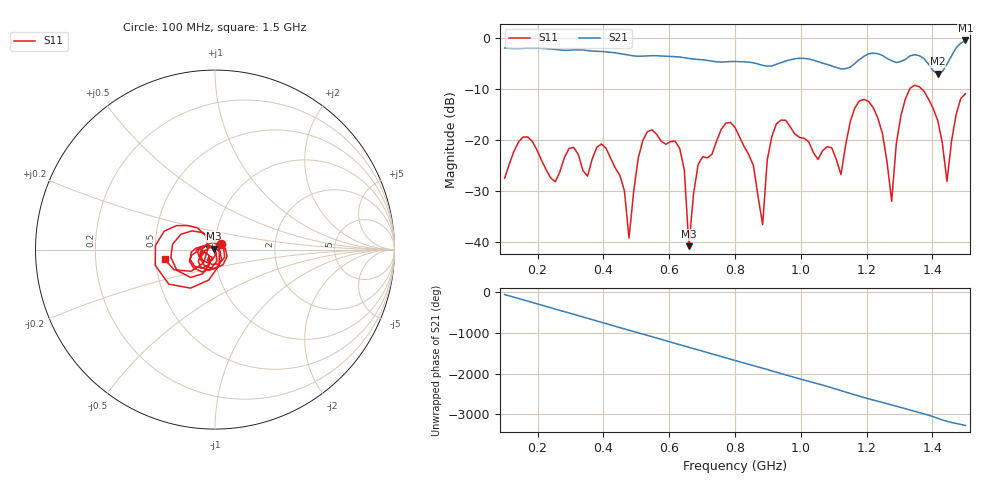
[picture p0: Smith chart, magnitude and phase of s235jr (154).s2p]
! NanoVNA-App
! Date: 2025-09-25 15:05:22
! Start: 100MHz Stop: 1,5GHz Points: 101
! S-Parameter data: F S11 S21 S12 S22
# Hz S RI R 50
!  Frequency  S11_Real  S11_Imag  S21_Real  S21_Imag  S12_Real  S12_Imag  S22_Real  S22_Imag
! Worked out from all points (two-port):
!   101 points, 100 MHz to 1.5 GHz, reference 50 ohm
!   highest |S21| = -0.49 dB at 1.5 GHz (marker M1); lowest = -7.0 dB at 1.416 GHz (marker M2)
!   |S21| within 3 dB of the highest: start of sweep to 489.5 MHz; 1.195 GHz to 1.25 GHz (54.52 MHz wide, 4.46 % of centre) (the widest 2 of 5)
!   lowest |S11| = -40.8 dB at 660 MHz (marker M3), VSWR 1.02, Z = 49.3 + j0.59 ohm
!   |S11| at or under -10 dB: start of sweep to 1.331 GHz; 1.367 GHz to end of sweep
!   S12 and S22 are empty: the file has one direction only
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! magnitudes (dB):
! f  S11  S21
! 100 MHz  -27.5  -2.0
! 156 MHz  -19.4  -2.0
! 338 MHz  -26.0  -2.4
! 408 MHz  -21.6  -2.7
! 478 MHz  -39.2  -3.4
! 520 MHz  -20.1  -3.6
! 576 MHz  -20.2  -3.5
! 632 MHz  -21.6  -3.7
! 660 MHz  -40.8  -4.0
! 688 MHz  -24.8  -4.2
! 800 MHz  -17.5  -4.6
! 884 MHz  -36.6  -5.4
! 898 MHz  -23.9  -5.5
! 926 MHz  -16.8  -5.2
! 1.038 GHz  -22.4  -4.3
! 1.122 GHz  -26.8  -6.1
! 1.206 GHz  -12.5  -3.1
! 1.276 GHz  -32.0  -4.5
! 1.332 GHz  -9.9  -3.5
! 1.416 GHz  -16.2  -7.0
! 1.444 GHz  -28.1  -5.1
! 1.5 GHz  -10.9  -0.5
